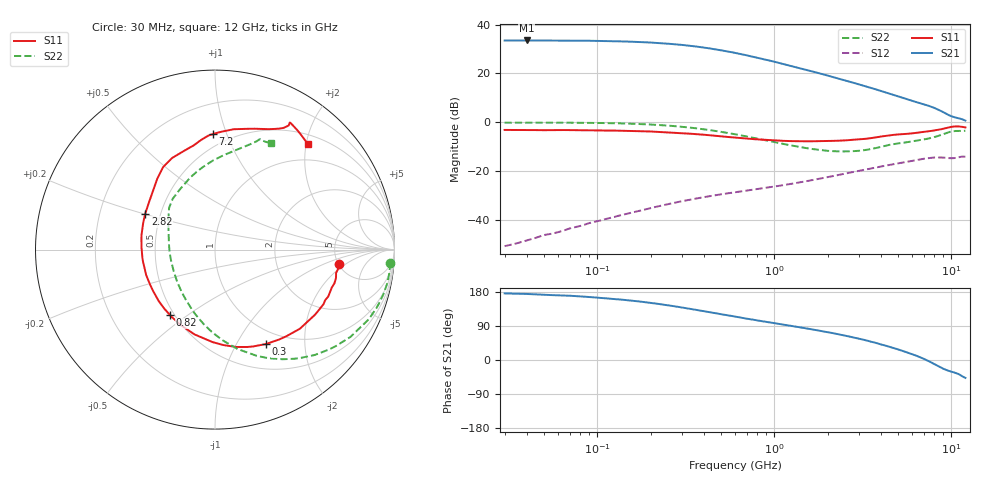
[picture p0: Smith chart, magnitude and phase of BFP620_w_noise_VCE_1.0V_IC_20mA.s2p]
! Infineon Technologies  Discrete & RF Semiconductors
! BFP620
! VCE =  1.0 V,  IC =  20 mA
! Common Emitter S-Parameters:  Nov 2015
# GHz  S  MA  R  50
!  f  S11  S21  S12  S22
! GHz  MAG  ANG  MAG  ANG  MAG  ANG  MAG  ANG
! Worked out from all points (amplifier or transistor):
!   239 points, 30 MHz to 12 GHz, reference 50 ohm
!   highest |S21| = 33.5 dB at 40 MHz (marker M1)
!   |S21| within 3 dB of that: start of sweep to 408.8 MHz
!   unconditionally stable (mu >= 1): 2.986 GHz to end of sweep
!   at 300 MHz: K = 0.26, MSG = 32.0 dB, |S12| = -32.4 dB
!   at 1.88 GHz: K = 0.90, MSG = 21.2 dB, |S12| = -22.9 dB
!   at 12 GHz: K = 1.09, MAG = 5.5 dB, |S12| = -14.1 dB
!   lowest NFmin = 0.95 dB at 450 MHz
!   S11 on the Smith chart (normalised r, x): 30 MHz: 5.05, -1.59; 300 MHz: 0.81, -1.33; 820 MHz: 0.47, -0.43; 2.82 GHz: 0.41, +0.20; 7.2 GHz: 0.41, +0.90; 12 GHz: 0.67, +2.03
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0.03  0.6954 -6.7  47.02 175.7  0.0029 89.5  0.9779 -4.3
0.04  0.6932 -9.2  47.22 174.3  0.0038 88.2  0.9794 -6.1
0.05  0.6871 -10.9  47.07 171.8  0.0049 88.3  0.98 -7.8
0.07  0.6914 -15.8  47.02 169.6  0.0067 83.4  0.9772 -11.4
0.085  0.6834 -19.0  46.59 167.1  0.008 81.7  0.9722 -14.0
0.12  0.6768 -26.7  45.81 161.8  0.0111 78.9  0.9563 -20.0
0.15  0.6646 -33.2  44.78 157.5  0.0136 75.9  0.9372 -24.9
0.2  0.6465 -43.0  42.82 150.7  0.0175 71.6  0.8985 -32.7
0.24  0.6251 -50.6  41 145.6  0.0203 68.6  0.8627 -38.4
0.3  0.5978 -61.7  38.33 138.6  0.0241 64.8  0.8083 -46.6
0.4  0.555 -77.8  33.81 128.7  0.0292 59.9  0.7172 -58.4
0.5  0.5155 -91.5  29.7 120.8  0.0334 56.3  0.6364 -68.5
0.6  0.4863 -103.5  26.29 114.4  0.0369 53.9  0.5682 -77.2
0.7  0.4631 -113.8  23.38 109.0  0.0399 52.2  0.5097 -84.8
0.82  0.4428 -124.3  20.57 103.7  0.0433 50.9  0.4544 -92.9
1.1  0.4174 -144.0  15.89 94.0  0.0509 49.1  0.366 -109.3
1.64  0.4066 -170.3  10.96 80.7  0.0654 46.5  0.2828 -135.9
2.82  0.4368 152.9  6.368 59.1  0.0967 38.0  0.2561 176.6
4.5  0.5433 122.1  3.814 34.3  0.1341 22.4  0.3462 137.6
7.2  0.6434 91.0  2.252 0.3  0.1814 -3.7  0.4533 101.0
9  0.7351 65.9  1.61 -23.0  0.189 -23.9  0.571 77.5
12  0.7833 48.7  1.079 -47.3  0.1966 -43.9  0.6682 62.4
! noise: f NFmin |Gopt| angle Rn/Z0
0.45  0.95  0.03  -45  0.13
0.9  0.96  0.06  -126  0.12
1.9  0.96  0.11  -135  0.1
2.4  0.99  0.13  -132  0.1
3.5  1.04  0.21  -91  0.14
5.5  1.31  0.24  -83  0.17
10  1.72  0.6  -48  0.79
